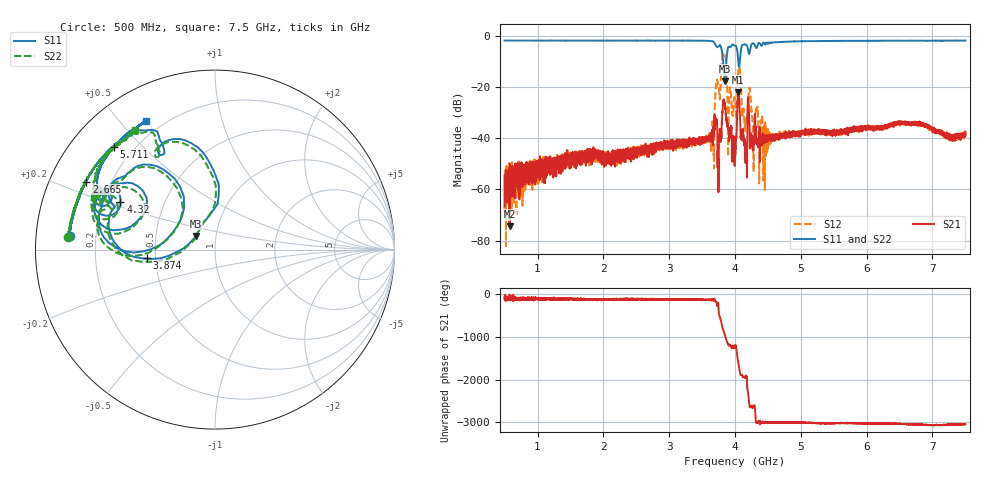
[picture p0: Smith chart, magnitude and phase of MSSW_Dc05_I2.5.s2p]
!Keysight Technologies,M9374A,MY55442783,A.12.55.05
!Date: Wednesday, May 19, 2021 19:08:45
!Correction: S11(Full 2 Port(1,2))
!S21(Full 2 Port(1,2))
!S12(Full 2 Port(1,2))
!S22(Full 2 Port(1,2))
!S2P File: Measurements: S11, S21, S12, S22:
# Hz S  RI  R 50
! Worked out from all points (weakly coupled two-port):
!   7001 points, 500 MHz to 7.5 GHz, reference 50 ohm
!   highest |S21| = -22.05 dB at 4.051 GHz (marker M1); lowest = -74.4 dB at 575 MHz (marker M2)
!   lowest |S11| = -17.7 dB at 3.847 GHz (marker M3), VSWR 1.30, Z = 40 + j6.19 ohm
!   |S11| at or under -10 dB: 3.82 GHz to 3.868 GHz (48.63 MHz wide, 1.26 % of centre); 4.05 GHz to 4.073 GHz (22.44 MHz wide, 0.552 % of centre)
!   |S22| runs from -17.8 to -1.7 dB; largest |S21 - S12| = 0.42
!   S11 on the Smith chart (normalised r, x): 500 MHz: 0.10, +0.05; 2.665 GHz: 0.11, +0.24; 3.874 GHz: 0.45, -0.05; 4.32 GHz: 0.27, +0.22; 5.711 GHz: 0.13, +0.41; 7.5 GHz: 0.14, +0.59
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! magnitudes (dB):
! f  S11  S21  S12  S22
! 500 MHz  -1.8  -66.7  -66.6  -1.7
! 575 MHz  -1.8  -74.4  -59.5  -1.7
! 1.667 GHz  -1.8  -45.0  -47.7  -1.8
! 2.665 GHz  -1.8  -44.0  -45.1  -1.8
! 2.834 GHz  -1.8  -42.9  -43.9  -1.8
! 3.651 GHz  -2.0  -38.9  -35.1  -2.0
! 3.723 GHz  -4.2  -33.9  -17.5  -4.0
! 3.767 GHz  -3.6  -36.6  -24.3  -3.7
! 3.847 GHz  -17.7  -26.5  -7.1  -17.8
! 3.874 GHz  -8.4  -33.6  -15.5  -8.1
! 3.923 GHz  -4.3  -38.0  -20.3  -4.3
! 4 GHz  -3.8  -46.2  -25.4  -3.8
! 4.051 GHz  -10.3  -22.0  -13.4  -10.4
! 4.149 GHz  -3.2  -41.8  -36.5  -3.2
! 4.226 GHz  -6.0  -44.0  -20.9  -5.9
! 4.276 GHz  -2.9  -43.4  -43.3  -2.8
! 4.32 GHz  -4.6  -37.3  -28.4  -4.5
! 4.457 GHz  -3.4  -40.8  -37.3  -3.4
! 5.167 GHz  -2.0  -37.2  -37.5  -2.0
! 5.711 GHz  -1.9  -37.3  -36.7  -1.9
! 6.334 GHz  -1.8  -35.3  -34.8  -2.0
! 7.5 GHz  -1.8  -37.3  -37.4  -1.9
